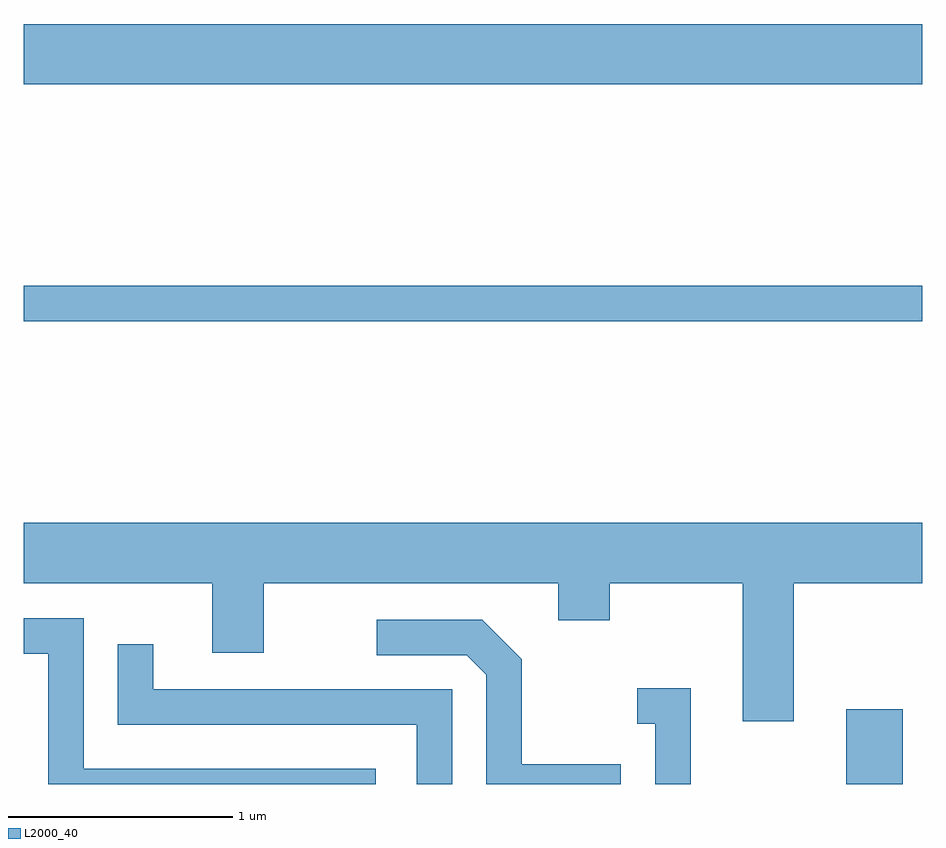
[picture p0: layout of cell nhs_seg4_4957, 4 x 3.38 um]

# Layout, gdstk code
import gdstk
lib = gdstk.Library(unit=1e-6, precision=1e-09)
def R(c, l, rs):  # rectangles x0, y0, x1, y1
    for r in rs: c.add(gdstk.rectangle(r[:2], r[2:], *l))
def P(c, l, *ps):  # polygons
    for p in ps: c.add(gdstk.Polygon(p, *l))
L2000_40 = (2000, 40)

nhs_seg4_4957 = lib.new_cell('nhs_seg4_4957')
R(nhs_seg4_4957, L2000_40, [(333.271,1375.982,333.524,1376.314), (329.611,1378.041,333.611,1378.199), (329.611,1379.096,333.611,1379.364)])
P(nhs_seg4_4957, L2000_40, [(333.039,1376.876),(333.611,1376.876),(333.611,1377.144),(329.611,1377.144),(329.611,1376.876),(330.451,1376.876),(330.451,1376.566),(330.679,1376.566),(330.679,1376.876),(331.991,1376.876),(331.991,1376.711),(332.219,1376.711),(332.219,1376.876),(332.811,1376.876),(332.811,1376.261),(333.039,1376.261)],
  [(331.179,1376.049),(329.879,1376.049),(329.879,1376.719),(329.611,1376.719),(329.611,1376.561),(329.721,1376.561),(329.721,1375.982),(331.179,1375.982)],
  [(332.269,1376.069),(331.829,1376.069),(331.829,1376.537),(331.652,1376.714),(331.183,1376.714),(331.183,1376.556),(331.584,1376.556),(331.671,1376.469),(331.671,1375.982),(332.269,1375.982)],
  [(331.519,1376.404),(330.189,1376.404),(330.189,1376.603),(330.031,1376.603),(330.031,1376.246),(331.361,1376.246),(331.361,1375.982),(331.519,1375.982)],
  [(332.579,1376.409),(332.343,1376.409),(332.343,1376.251),(332.421,1376.251),(332.421,1375.982),(332.579,1375.982)])

lib.write_gds('nhs_seg4_4957.gds')
